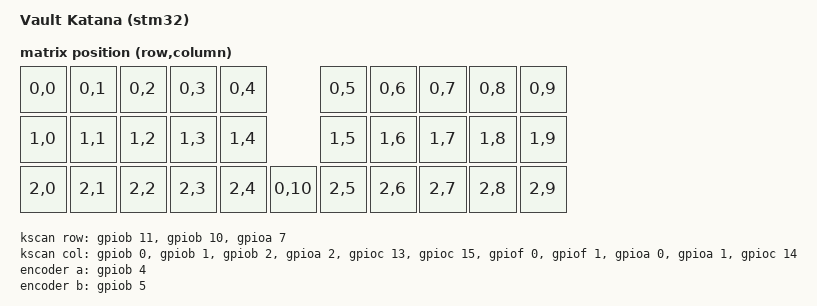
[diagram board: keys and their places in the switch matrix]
/*
 * Copyright (c) 2020 The ZMK Contributors
 *
 * SPDX-License-Identifier: MIT
 */

/dts-v1/;
#include <st/f0/stm32f072Xb.dtsi>
#include <st/f0/stm32f072v(8-b)tx-pinctrl.dtsi>

#include <dt-bindings/zmk/matrix_transform.h>

/ {
    model = "Vault Katana (stm32)";
    compatible = "jlw,vault_katana_stm32", "st,stm32f072";

    chosen {
        zephyr,sram = &sram0;
        zephyr,flash = &flash0;
        zephyr,console = &cdc_acm_uart;
        zmk,kscan = &kscan;
        zmk,matrix_transform = &transform;
        /* TODO: Enable once we support the IC for underglow
        zmk,underglow = &led_strip;
         */
    };

    transform: transform {
        compatible = "zmk,matrix-transform";
        rows = <3>;
        columns = <11>;

        map = <
        RC(0,0) RC(0,1) RC(0,2) RC(0,3) RC(0,4)          RC(0,5) RC(0,6) RC(0,7) RC(0,8) RC(0,9) 
        RC(1,0) RC(1,1) RC(1,2) RC(1,3) RC(1,4)          RC(1,5) RC(1,6) RC(1,7) RC(1,8) RC(1,9)
        RC(2,0) RC(2,1) RC(2,2) RC(2,3) RC(2,4) RC(0,10) RC(2,5) RC(2,6) RC(2,7) RC(2,8) RC(2,9)
        >;
    };

    kscan: kscan {
        compatible = "zmk,kscan-gpio-matrix";
        label = "KSCAN";

        diode-direction = "col2row";

        col-gpios
        = <&gpiob 0 (GPIO_ACTIVE_HIGH | GPIO_PULL_DOWN)>
        , <&gpiob 1 (GPIO_ACTIVE_HIGH | GPIO_PULL_DOWN)>
        , <&gpiob 2 (GPIO_ACTIVE_HIGH | GPIO_PULL_DOWN)>
        , <&gpioa 2 (GPIO_ACTIVE_HIGH | GPIO_PULL_DOWN)>
        , <&gpioc 13 (GPIO_ACTIVE_HIGH | GPIO_PULL_DOWN)>
        , <&gpioc 15 (GPIO_ACTIVE_HIGH | GPIO_PULL_DOWN)>
        , <&gpiof 0 (GPIO_ACTIVE_HIGH | GPIO_PULL_DOWN)>
        , <&gpiof 1 (GPIO_ACTIVE_HIGH | GPIO_PULL_DOWN)>
        , <&gpioa 0  (GPIO_ACTIVE_HIGH | GPIO_PULL_DOWN)>
        , <&gpioa 1  (GPIO_ACTIVE_HIGH | GPIO_PULL_DOWN)>
	, <&gpioc 14  (GPIO_ACTIVE_HIGH | GPIO_PULL_DOWN)>
        ;
        row-gpios
        = <&gpiob 11  (GPIO_ACTIVE_HIGH | GPIO_PULL_DOWN)>
        , <&gpiob 10 (GPIO_ACTIVE_HIGH | GPIO_PULL_DOWN)>
        , <&gpioa 7 (GPIO_ACTIVE_HIGH | GPIO_PULL_DOWN)>
        ;
    };

    encoder: encoder {
        compatible = "alps,ec11";
        label = "ENCODER";
        a-gpios = <&gpiob 4 (GPIO_ACTIVE_HIGH | GPIO_PULL_UP)>;
        b-gpios = <&gpiob 5 (GPIO_ACTIVE_HIGH | GPIO_PULL_UP)>;
	steps = <30>;
        status = "disabled";
    };

    sensors: sensors {
        compatible = "zmk,keymap-sensors";
        status = "disabled";
        sensors = <&encoder>;

	triggers-per-rotation = <15>;
    };
};


&usb {
    status = "okay";

    pinctrl-0 = <&usb_dm_pa11 &usb_dp_pa12>;
    pinctrl-names = "default";

    cdc_acm_uart: cdc_acm_uart {
        compatible = "zephyr,cdc-acm-uart";
        label = "CDC_ACM_0";
    };
};

&clk_hsi {
    status = "okay";
};

&clk_hsi48 {
    status = "okay";
};

&pll {
    prediv = <1>;
    mul = <6>;
    clocks = <&clk_hsi>;
    status = "okay";
};

&rcc {
    clocks = <&pll>;
    clock-frequency = <DT_FREQ_M(48)>;
    ahb-prescaler = <1>;
    apb1-prescaler = <1>;
};


&rtc {
    status = "okay";
};

&flash0 {
    /*
     * For more information, see:
     * http: //docs.zephyrproject.org/latest/guides/dts/index.html#flash-partitions
     */
    partitions {
        compatible = "fixed-partitions";
        #address-cells = <1>;
        #size-cells = <1>;

        /* Set 6Kb of storage at the end of the 128Kb of flash */
        storage_partition: partition@3e800 {
            label = "storage";
            reg = <0x0001e800 0x00001800>;
        };
    };
};
